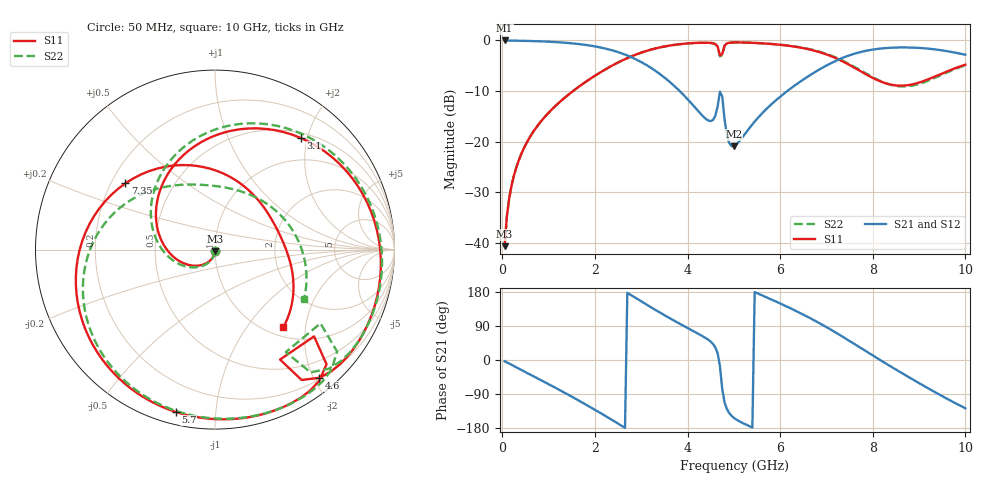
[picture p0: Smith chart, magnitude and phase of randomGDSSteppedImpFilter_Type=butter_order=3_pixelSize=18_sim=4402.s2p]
! freq	dB(S11)	phase(S11)	dB(S12)	phase(S12)
!  dB(S21)	phase(S21)	dB(S22)	phase(S22)
!S-par simulation data
#  GHz  S  DB  R 50
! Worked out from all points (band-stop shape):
!   200 points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, 50 MHz to 10 GHz, reference 50 ohm
!   highest |S21| = 0.00 dB at 50 MHz (marker M1); lowest = -20.9 dB at 5 GHz (marker M2)
!   |S21| within 3 dB of the highest: start of sweep to 2.707 GHz; 7.476 GHz to end of sweep
!   lowest |S11| = -40.7 dB at 50 MHz (marker M3), VSWR 1.02, Z = 50 - j0.926 ohm
!   |S11| at or under -10 dB: start of sweep to 1.527 GHz
!   |S22| runs from -40.6 to -0.4 dB; largest |S21 - S12| = 0
!   S11 on the Smith chart (normalised r, x): 50 MHz: 1.00, -0.02; 3.1 GHz: 0.58, +1.89; 4.6 GHz: 0.22, -2.08; 5.7 GHz: 0.06, -0.78; 7.35 GHz: 0.26, +0.31; 10 GHz: 1.17, -1.52
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0.05  -40.65 -92.6  -0.00 -3.2  -0.00 -3.2  -40.64 -92.2
0.2  -28.68 -102.7  -0.03 -12.7  -0.03 -12.7  -28.67 -101.5
0.45  -21.62 -120.1  -0.08 -28.5  -0.08 -28.5  -21.61 -117.3
1.15  -12.92 -167.5  -0.32 -73.4  -0.32 -73.4  -12.92 -161.1
1.75  -8.50 151.1  -0.82 -113.8  -0.82 -113.8  -8.51 159.2
2.4  -4.83 104.2  -2.02 -160.4  -2.02 -160.4  -4.84 112.6
3.1  -2.11 52.4  -4.79 147.3  -4.79 147.3  -2.12 59.8
3.4  -1.38 30.8  -6.62 125.5  -6.62 125.5  -1.39 37.6
4  -0.59 -9.8  -11.60 84.5  -11.60 84.5  -0.60 -4.1
4.6  -0.72 -50.9  -14.89 33.4  -14.89 33.4  -0.74 -46.3
4.7  -2.95 -59.4  -10.12 -16.3  -10.12 -16.3  -3.17 -55.4
4.75  -2.69 -41.2  -11.06 -76.8  -11.06 -76.8  -2.89 -35.0
4.85  -0.59 -51.6  -18.71 -129.5  -18.71 -129.5  -0.61 -45.9
5  -0.40 -63.2  -20.90 -152.6  -20.90 -152.6  -0.39 -57.8
5.05  -0.39 -66.4  -20.59 -156.9  -20.59 -156.9  -0.38 -61.0
5.7  -0.63 -103.7  -13.58 165.7  -13.58 165.7  -0.60 -97.3
6.7  -1.93 -165.5  -6.55 107.1  -6.55 107.1  -1.85 -152.8
7.35  -4.14 143.5  -3.44 61.4  -3.44 61.4  -3.99 166.7
7.9  -6.92 93.1  -1.96 19.5  -1.96 19.5  -6.76 131.5
8.35  -8.65 52.0  -1.47 -14.3  -1.47 -14.3  -8.66 101.8
9.15  -7.85 -3.3  -1.58 -71.5  -1.58 -71.5  -8.13 37.7
10  -4.79 -48.6  -2.82 -127.5  -2.82 -127.5  -4.91 -29.1
